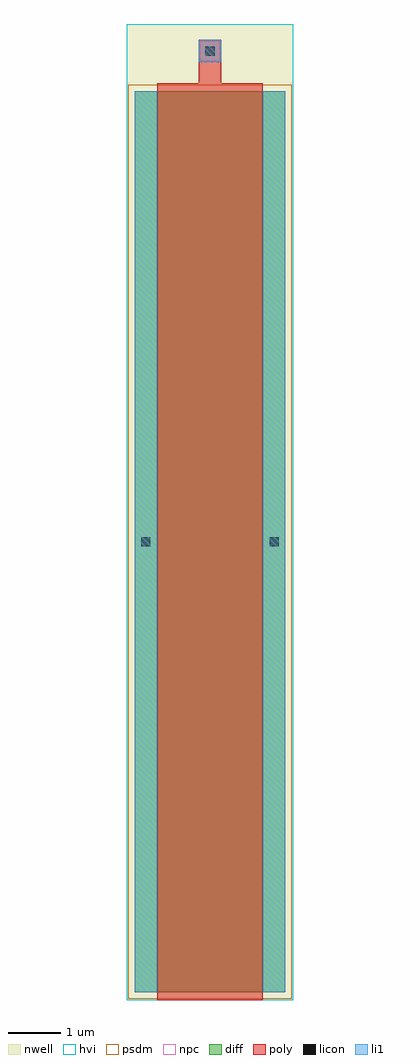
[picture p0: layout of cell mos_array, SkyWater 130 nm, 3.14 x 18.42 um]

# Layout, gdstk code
import gdstk
lib = gdstk.Library(unit=1e-6, precision=1e-09)
def R(c, l, rs):  # rectangles x0, y0, x1, y1
    for r in rs: c.add(gdstk.rectangle(r[:2], r[2:], *l))
nwell = (64, 20)
diff = (65, 20)
poly = (66, 20)
licon = (66, 44)
li1 = (67, 20)
hvi = (75, 20)
psdm = (94, 20)
npc = (95, 20)

mos_array = lib.new_cell('mos_array')
R(mos_array, nwell, [(-0.15,-0.15,2.99,18.27)])
R(mos_array, diff, [(0,0,2.84,17)])
R(mos_array, poly, [(0.42,-0.15,2.42,17), (0.42,17,2.42,17.15), (0.42,17,2.42,17.15), (1.21,17.15,1.63,17.97)])
R(mos_array, licon, [(0.125,8.415,0.295,8.585), (2.545,8.415,2.715,8.585), (1.335,17.675,1.505,17.845)])
R(mos_array, li1, [(0,0,0.42,17), (2.42,0,2.84,17), (1.21,17.55,1.63,17.97)])
R(mos_array, hvi, [(-0.15,-0.15,2.99,18.27)])
R(mos_array, psdm, [(-0.125,-0.125,2.965,17.125)])
R(mos_array, npc, [(1.24,17.58,1.6,17.94)])

lib.write_gds('mos_array.gds')
